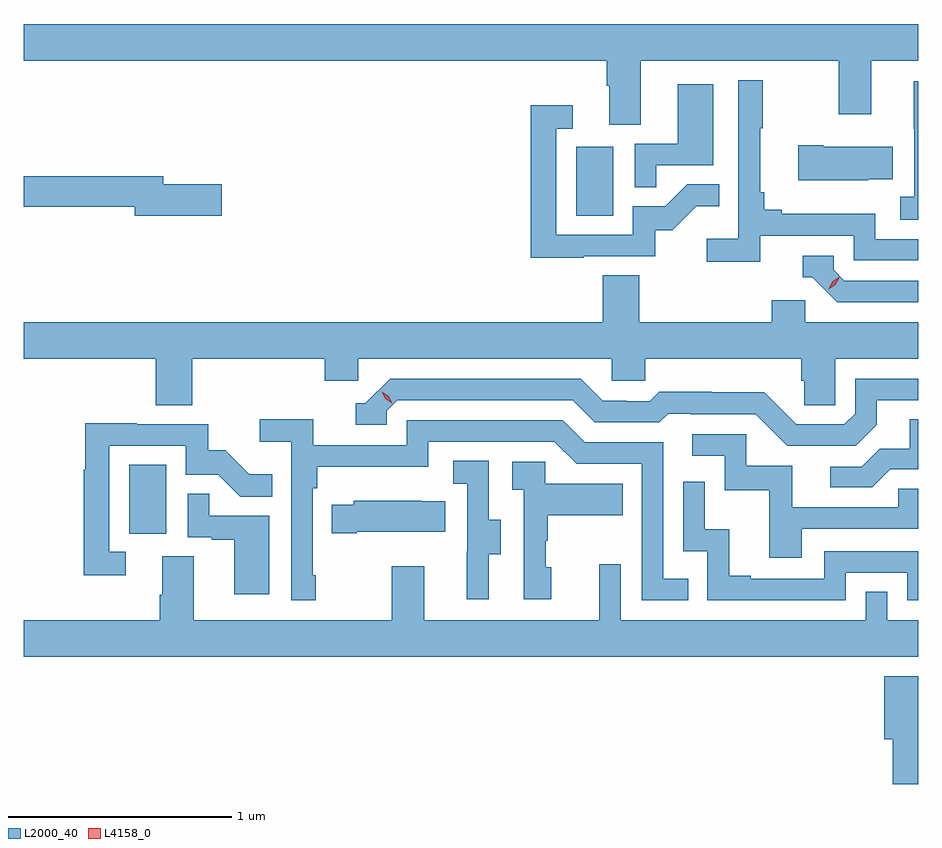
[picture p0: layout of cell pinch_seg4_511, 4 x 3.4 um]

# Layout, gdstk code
import gdstk
lib = gdstk.Library(unit=1e-6, precision=1e-09)
def R(c, l, rs):  # rectangles x0, y0, x1, y1
    for r in rs: c.add(gdstk.rectangle(r[:2], r[2:], *l))
def P(c, l, *ps):  # polygons
    for p in ps: c.add(gdstk.Polygon(p, *l))
L2000_40 = (2000, 40)
L4158_0 = (4158, 0)

pinch_seg4_511 = lib.new_cell('pinch_seg4_511')
R(pinch_seg4_511, L2000_40, [(962.3,753.414,962.464,753.721), (964.298,754.836,964.462,755.143)])
P(pinch_seg4_511, L2000_40, [(964.585,755.528),(965.47,755.528),(965.47,755.289),(965.617,755.289),(965.617,755.528),(965.827,755.528),(965.827,755.692),(961.827,755.692),(961.827,755.528),(964.433,755.528),(964.433,755.416),(964.445,755.416),(964.445,755.242),(964.585,755.242)],
  [(965.12,754.746),(965.538,754.746),(965.538,754.635),(965.827,754.635),(965.827,754.731),(965.634,754.731),(965.634,754.843),(965.215,754.843),(965.215,754.862),(965.138,754.862),(965.138,754.939),(965.119,754.939),(965.119,755.227),(965.131,755.227),(965.131,755.44),(965.022,755.44),(965.022,754.732),(964.881,754.732),(964.881,754.63),(965.12,754.63)],
  [(965.827,755.437),(965.807,755.437),(965.807,755.223),(965.808,755.223),(965.808,754.919),(965.745,754.919),(965.745,754.816),(965.827,754.816)],
  [(964.655,755.061),(964.909,755.061),(964.909,755.422),(964.751,755.422),(964.751,755.157),(964.56,755.157),(964.56,754.963),(964.655,754.963)],
  [(964.331,754.653),(964.65,754.653),(964.65,754.77),(964.726,754.77),(964.833,754.877),(964.937,754.877),(964.937,754.976),(964.793,754.976),(964.695,754.878),(964.551,754.878),(964.551,754.749),(964.209,754.749),(964.209,755.223),(964.282,755.223),(964.282,755.329),(964.093,755.329),(964.093,754.648),(964.331,754.648)],
  [(965.603,754.997),(965.711,754.997),(965.711,755.143),(965.401,755.143),(965.401,755.151),(965.289,755.151),(965.289,754.994),(965.603,754.994)],
  [(962.713,754.976),(962.452,754.976),(962.452,755.012),(961.827,755.012),(961.827,754.876),(962.324,754.876),(962.324,754.834),(962.713,754.834)],
  [(965.827,754.545),(965.496,754.545),(965.448,754.593),(965.448,754.656),(965.309,754.656),(965.309,754.56),(965.352,754.56),(965.463,754.449),(965.827,754.449)],
  [(962.582,754.196),(963.173,754.196),(963.173,754.098),(963.324,754.098),(963.324,754.196),(964.455,754.196),(964.455,754.098),(964.605,754.098),(964.605,754.196),(965.303,754.196),(965.303,754.098),(965.317,754.098),(965.317,753.988),(965.454,753.988),(965.454,754.196),(965.827,754.196),(965.827,754.36),(965.322,754.36),(965.322,754.458),(965.171,754.458),(965.171,754.36),(964.58,754.36),(964.58,754.568),(964.415,754.568),(964.415,754.36),(961.827,754.36),(961.827,754.196),(962.417,754.196),(962.417,753.988),(962.582,753.988)],
  [(965.641,753.901),(965.641,754.011),(965.827,754.011),(965.827,754.107),(965.544,754.107),(965.544,753.951),(965.496,753.903),(965.28,753.903),(965.138,754.045),(964.902,754.045),(964.902,754.048),(964.669,754.048),(964.627,754.005),(964.524,754.005),(964.524,754.008),(964.417,754.008),(964.318,754.107),(963.465,754.107),(963.354,753.996),(963.311,753.996),(963.311,753.9),(963.45,753.9),(963.45,753.963),(963.498,754.011),(964.281,754.011),(964.38,753.912),(964.669,753.912),(964.708,753.951),(964.807,753.951),(964.807,753.948),(965.1,753.948),(965.241,753.807),(965.547,753.807)],
  [(963.133,753.229),(963.12,753.229),(963.12,753.617),(963.14,753.617),(963.14,753.713),(963.636,753.713),(963.636,753.825),(964.2,753.825),(964.299,753.726),(964.59,753.726),(964.59,753.117),(964.799,753.117),(964.799,753.213),(964.686,753.213),(964.686,753.822),(964.336,753.822),(964.237,753.921),(963.54,753.921),(963.54,753.81),(963.122,753.81),(963.122,753.926),(962.883,753.926),(962.883,753.824),(963.024,753.824),(963.024,753.117),(963.133,753.117)],
  [(965.701,753.702),(965.827,753.702),(965.827,753.926),(965.789,753.926),(965.789,753.794),(965.654,753.794),(965.574,753.714),(965.433,753.714),(965.433,753.621),(965.62,753.621)],
  [(962.284,753.333),(962.211,753.333),(962.211,753.807),(962.553,753.807),(962.553,753.678),(962.697,753.678),(962.795,753.58),(962.939,753.58),(962.939,753.679),(962.835,753.679),(962.728,753.786),(962.652,753.786),(962.652,753.903),(962.333,753.903),(962.333,753.908),(962.103,753.908),(962.103,753.7),(962.095,753.7),(962.095,753.228),(962.284,753.228)],
  [(965.305,753.435),(965.827,753.435),(965.827,753.615),(965.737,753.615),(965.737,753.531),(965.263,753.531),(965.263,753.717),(965.058,753.717),(965.058,753.858),(964.815,753.858),(964.815,753.762),(964.962,753.762),(964.962,753.609),(965.161,753.609),(965.161,753.306),(965.305,753.306)],
  [(963.907,753.322),(963.961,753.322),(963.961,753.477),(963.906,753.477),(963.906,753.74),(963.747,753.74),(963.747,753.637),(963.81,753.637),(963.81,753.333),(963.809,753.333),(963.809,753.12),(963.907,753.12)],
  [(964.186,753.264),(964.161,753.264),(964.161,753.383),(964.171,753.383),(964.171,753.497),(964.505,753.497),(964.505,753.637),(964.158,753.637),(964.158,753.735),(964.011,753.735),(964.011,753.611),(964.062,753.611),(964.062,753.12),(964.186,753.12)],
  [(965.502,753.24),(965.778,753.24),(965.778,753.117),(965.827,753.117),(965.827,753.336),(965.406,753.336),(965.406,753.213),(965.077,753.213),(965.077,753.226),(964.982,753.226),(964.982,753.434),(964.872,753.434),(964.872,753.646),(964.776,753.646),(964.776,753.336),(964.884,753.336),(964.884,753.117),(965.502,753.117)],
  [(962.926,753.495),(962.657,753.495),(962.657,753.593),(962.562,753.593),(962.562,753.399),(962.669,753.399),(962.669,753.387),(962.768,753.387),(962.768,753.144),(962.926,753.144)],
  [(963.316,753.422),(963.713,753.422),(963.713,753.559),(963.605,753.559),(963.605,753.562),(963.303,753.562),(963.303,753.544),(963.205,753.544),(963.205,753.415),(963.316,753.415)],
  [(965.827,753.028),(965.688,753.028),(965.688,753.155),(965.592,753.155),(965.592,753.028),(964.497,753.028),(964.497,753.277),(964.4,753.277),(964.4,753.028),(963.619,753.028),(963.619,753.268),(963.472,753.268),(963.472,753.028),(962.587,753.028),(962.587,753.314),(962.447,753.314),(962.447,753.14),(962.435,753.14),(962.435,753.028),(961.827,753.028),(961.827,752.864),(965.827,752.864)],
  [(965.827,752.776),(965.675,752.776),(965.675,752.496),(965.711,752.496),(965.711,752.295),(965.827,752.295)])
P(pinch_seg4_511, L4158_0, [(963.474,753.997),(963.443,754.016),(963.427,754.049),(963.427,754.049),(963.427,754.049),(963.458,754.03),(963.474,753.997),(963.474,753.997)],
  [(965.426,754.507),(965.426,754.507),(965.441,754.539),(965.471,754.559),(965.472,754.559),(965.472,754.558),(965.456,754.526),(965.426,754.507)])

lib.write_gds('pinch_seg4_511.gds')
